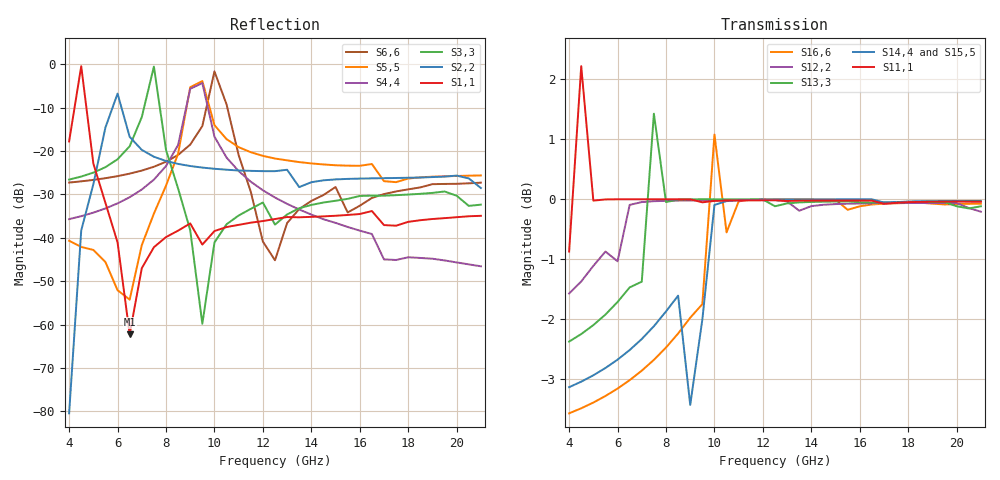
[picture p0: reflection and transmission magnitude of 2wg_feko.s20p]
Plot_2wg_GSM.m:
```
%% 
F_cst = linspace(4e9, 21e9, 1001);
F = 4e9:0.5e9:21e9;

data5_cst = read(rfdata.data,'../../../feko/cst/2wg_V1_20modes.s80p');
s_params_5_cst = extract(data5_cst,'S_PARAMETERS');


data5_feko = read(rfdata.data,'2wg_feko.s20p');
s_params_5_feko = extract(data5_feko,'S_PARAMETERS');

c_pp = load('Spp2_ratio_1_modes_20.mat');
SPP = c_pp.Spp;
c_pr = load('Spr2_ratio_1_modes_20.mat');
SPR = c_pr.Spr;
c_rp = load('Srp2_ratio_1_modes_20.mat');
SRP = c_rp.Srp;
c_rr = load('Srr2_ratio_1_modes_20.mat');
SRR = c_rr.Srr;

%% SPP 
figure;

plot(F * 1e-9, db(abs(squeeze(SPP(:, 1, 1)))), 'LineWidth', 2); grid on;
hold on;
% plot(F_cst * 1e-9, db(abs(squeeze(s_params_5_cst(3,3, :)))), 'LineWidth', 2); grid on;
hold on;
plot(F * 1e-9, db(abs(squeeze(s_params_5_feko(11, 11, :)))), 'LineWidth', 2); grid on;

xlabel('Frequency (GHz)', 'FontSize', 12, 'FontWeight', 'bold');
ylabel('S in  dB', 'FontSize', 12, 'FontWeight', 'bold');
title(['S Parameter'], 'FontSize', 12, 'FontWeight', 'bold')

legend({'S_{PP} of TE_{11} MM', 'S_{PP} of TE_{11} CST',...
    'S_{PP} of TE_{11} FEKO'},...
    'FontSize', 12, 'FontWeight', 'bold');

xlim([5 21]);

figure;

plot(F * 1e-9, angle((squeeze(SPP(:, 3, 1)))) * 180/pi, 'LineWidth', 2); grid on;
hold on;
plot(F_cst * 1e-9, angle((squeeze(s_params_5_cst(3, 3, :)))) * 180/pi, 'LineWidth', 2); grid on;
hold on;
plot(F * 1e-9, angle((squeeze(s_params_5_feko(11, 11, :)))) * 180/pi, 'LineWidth', 2); grid on;

xlabel('Frequency (GHz)', 'FontSize', 12, 'FontWeight', 'bold');
ylabel('S parameter Phase in deg', 'FontSize', 12, 'FontWeight', 'bold');
title(['S parameter Phase'], 'FontSize', 12, 'FontWeight', 'bold')

legend({'S_{PP} of TE_{11} MM', 'S_{PP} of TE_{11} CST',...
    'S_{PP} of TE_{11} FEKO'},...
    'FontSize', 12, 'FontWeight', 'bold');

xlim([5 21]);

%% SPR 

figure;

plot(F * 1e-9, db(abs(squeeze(SPR(:, 3, 3)))), 'LineWidth', 2); grid on;
hold on;
plot(F_cst * 1e-9, db(abs(squeeze(s_params_5_cst(3,43, :)))), 'LineWidth', 2); grid on;
hold on;
plot(F * 1e-9, db(abs(squeeze(s_params_5_feko(13, 3, :)))), 'LineWidth', 2); grid on;

xlabel('Frequency (GHz)', 'FontSize', 12, 'FontWeight', 'bold');
ylabel('S in  dB', 'FontSize', 12, 'FontWeight', 'bold');
title(['S Parameter'], 'FontSize', 12, 'FontWeight', 'bold')

legend({'S_{PR} of TE_{11} MM', 'S_{PR} of TE_{11} CST',...
    'S_{PR} of TE_{11} FEKO'},...
    'FontSize', 12, 'FontWeight', 'bold');

xlim([5 21]);

angle_MM = atan(imag((squeeze(SPR(:, 3, 3)))./real((squeeze(SPR(:, 3, 3))))));
angle_cst = atan(imag(squeeze(s_params_5_cst(3, 43, :)))./real(squeeze(s_params_5_cst(3, 43, :))));
angle_feko = atan(imag(squeeze(s_params_5_feko(13, 3, :)))./real(squeeze(s_params_5_feko(13, 3, :))));



figure;

plot(F * 1e-9,  angle_MM * 180/pi, '*', 'LineWidth', 1); grid on;
hold on;
plot(F_cst * 1e-9, angle_cst * 180/pi, 'LineWidth', 2); grid on;
hold on;
plot(F * 1e-9, angle_feko * 180/pi, 'LineWidth', 2); grid on;

xlabel('Frequency (GHz)', 'FontSize', 12, 'FontWeight', 'bold');
ylabel('S parameter Phase in deg', 'FontSize', 12, 'FontWeight', 'bold');
title(['S parameter Phase'], 'FontSize', 12, 'FontWeight', 'bold')

legend({'S_{PR} of TE_{11} MM', 'S_{PR} of TE_{11} CST',...
    'S_{PR} of TE_{11} FEKO'},...
    'FontSize', 12, 'FontWeight', 'bold');


xlim([5 21]);



% figure;
% 
% plot(F * 1e-9,  angle((squeeze(SPR(:, 3, 3)))) * 180/pi, '*', 'LineWidth', 1); grid on;
% hold on;
% plot(F_cst * 1e-9, angle((squeeze(s_params_5_cst(3, 43, :)))) * 180/pi, 'LineWidth', 2); grid on;
% hold on;
% plot(F * 1e-9, angle((squeeze(s_params_5_feko(13, 3, :)))) * 180/pi, 'LineWidth', 2); grid on;
% 
% xlabel('Frequency (GHz)', 'FontSize', 12, 'FontWeight', 'bold');
% ylabel('S parameter Phase in deg', 'FontSize', 12, 'FontWeight', 'bold');
% title(['S parameter Phase'], 'FontSize', 12, 'FontWeight', 'bold')
% 
% legend({'S_{PR} of TE_{11} MM', 'S_{PR} of TE_{11} CST',...
%     'S_{PR} of TE_{11} FEKO'},...
%     'FontSize', 12, 'FontWeight', 'bold');
% 
% 
% xlim([5 21]);

%% SRP

figure;

plot(F * 1e-9, db(abs(squeeze(SRP(:, 3, 3)))), 'LineWidth', 2); grid on;
hold on;
plot(F_cst * 1e-9, db(abs(squeeze(s_params_5_cst(44,4, :)))), 'LineWidth', 2); grid on;
hold on;
plot(F * 1e-9, db(abs(squeeze(s_params_5_feko(3, 13, :)))), 'LineWidth', 2); grid on;

xlabel('Frequency (GHz)', 'FontSize', 12, 'FontWeight', 'bold');
ylabel('S in  dB', 'FontSize', 12, 'FontWeight', 'bold');
title(['S Parameter'], 'FontSize', 12, 'FontWeight', 'bold')

legend({'S_{RP} of TE_{11} MM', 'S_{RP} of TE_{11} CST',...
    'S_{RP} of TE_{11} FEKO'},...
    'FontSize', 12, 'FontWeight', 'bold');

xlim([5 21]);


figure;

plot(F * 1e-9, angle((squeeze(SRP(:, 3, 3)))) * 180/pi, '*', 'LineWidth', 1); grid on;
hold on;
plot(F_cst * 1e-9, angle((squeeze(s_params_5_cst(44, 4, :)))) * 180/pi, 'LineWidth', 2); grid on;
hold on;
plot(F * 1e-9, angle((squeeze(s_params_5_feko(3, 13, :)))) * 180/pi, 'LineWidth', 2); grid on;

xlabel('Frequency (GHz)', 'FontSize', 12, 'FontWeight', 'bold');
ylabel('S parameter Phase in deg', 'FontSize', 12, 'FontWeight', 'bold');
title(['S parameter Phase'], 'FontSize', 12, 'FontWeight', 'bold')

legend({'S_{RP} of TE_{11} MM', 'S_{RP} of TE_{11} CST',...
    'S_{RP} of TE_{11} FEKO'},...
    'FontSize', 12, 'FontWeight', 'bold');

xlim([5 21]);

%% SRR

figure;

plot(F * 1e-9, db(abs(squeeze(SRR(:, 1, 1)))), 'LineWidth', 2); grid on;
hold on;
% plot(F_cst * 1e-9, db(abs(squeeze(s_params_5_cst(42,42, :)))), 'LineWidth', 2); grid on;
hold on;
plot(F * 1e-9, db(abs(squeeze(s_params_5_feko(1, 1, :)))), 'LineWidth', 2); grid on;

xlabel('Frequency (GHz)', 'FontSize', 12, 'FontWeight', 'bold');
ylabel('S in  dB', 'FontSize', 12, 'FontWeight', 'bold');
title(['S Parameter'], 'FontSize', 12, 'FontWeight', 'bold')

legend({'S_{RR} of TE_{11} MM', 'S_{RR} of TE_{11} CST',...
    'S_{RR} of TE_{11} FEKO'},...
    'FontSize', 12, 'FontWeight', 'bold');

xlim([5 21]);


figure;

plot(F * 1e-9, angle((squeeze(SRR(:, 1, 1)))) * 180/pi, 'LineWidth', 2); grid on;
hold on;
% plot(F_cst * 1e-9, angle((squeeze(s_params_5_cst(42, 42, :)))) * 180/pi, 'LineWidth', 2); grid on;
hold on;
plot(F * 1e-9, angle((squeeze(s_params_5_feko(1, 1, :)))) * 180/pi, 'LineWidth', 2); grid on;

xlabel('Frequency (GHz)', 'FontSize', 12, 'FontWeight', 'bold');
ylabel('S parameter Phase in deg', 'FontSize', 12, 'FontWeight', 'bold');
title(['S parameter Phase'], 'FontSize', 12, 'FontWeight', 'bold')

legend({'S_{RR} of TE_{11} MM', 'S_{RR} of TE_{11} CST',...
    'S_{RR} of TE_{11} FEKO'},...
    'FontSize', 12, 'FontWeight', 'bold');

xlim([5 21]);
```
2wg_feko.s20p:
! S-parameter export from POSTFEKO
! Filename: circular_2wg_10modes
! Creation date: 2020-02-24 14:28:58
# Hz S MA R  5.0000000E+01
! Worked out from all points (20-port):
!   35 points, 4 GHz to 21 GHz, reference 50 ohm
!   strongest paths, dB at 4 GHz, 8 GHz, 12.5 GHz, 17 GHz, 21 GHz:
!     S11,1: -0.9, 0.0, 0.0, -0.1, 0.0
!     S14,4: -3.1, -1.9, 0.0, -0.1, 0.0
!     S13,3: -2.4, 0.0, -0.1, 0.0, -0.1
!     S12,2: -1.6, 0.0, 0.0, -0.1, -0.2
!     S16,6: -3.6, -2.5, 0.0, -0.1, -0.1
!     S15,5: -3.1, -1.7, 0.0, -0.2, -0.1
!   lowest |S11| = -62.2 dB at 6.5 GHz (marker M1), VSWR 1.00, Z = 50 + j0.0692 ohm
!   |S11| at or under -10 dB: start of sweep to 4.224 GHz; 4.713 GHz to end of sweep
